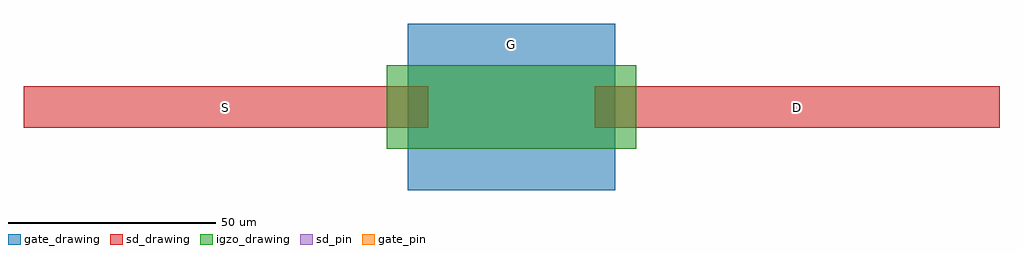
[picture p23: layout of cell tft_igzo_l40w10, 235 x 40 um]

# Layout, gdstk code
import gdstk
lib = gdstk.Library(unit=1e-6, precision=1e-09)
def R(c, l, rs):  # rectangles x0, y0, x1, y1
    for r in rs: c.add(gdstk.rectangle(r[:2], r[2:], *l))
gate_drawing = (2, 0)
gate_pin = (2, 10)
igzo_drawing = (4, 0)
sd_drawing = (6, 0)
sd_pin = (6, 10)

tft_igzo_l40w10 = lib.new_cell('tft_igzo_l40w10')
R(tft_igzo_l40w10, gate_drawing, [(-25,-20,25,20)])
R(tft_igzo_l40w10, gate_pin, [(-0.5,14.5,0.5,15.5)])
R(tft_igzo_l40w10, igzo_drawing, [(-30,-10,30,10)])
R(tft_igzo_l40w10, sd_drawing, [(-117.5,-5,-20,5), (20,-5,117.5,5)])
R(tft_igzo_l40w10, sd_pin, [(-69.25,-0.5,-68.25,0.5), (68.25,-0.5,69.25,0.5)])
tft_igzo_l40w10.add(gdstk.Label('S', (-68.75,0), layer=6, texttype=10))
tft_igzo_l40w10.add(gdstk.Label('D', (68.75,0), layer=6, texttype=10))
tft_igzo_l40w10.add(gdstk.Label('G', (0,15), layer=2, texttype=10))

lib.write_gds('tft_igzo_l40w10.gds')
